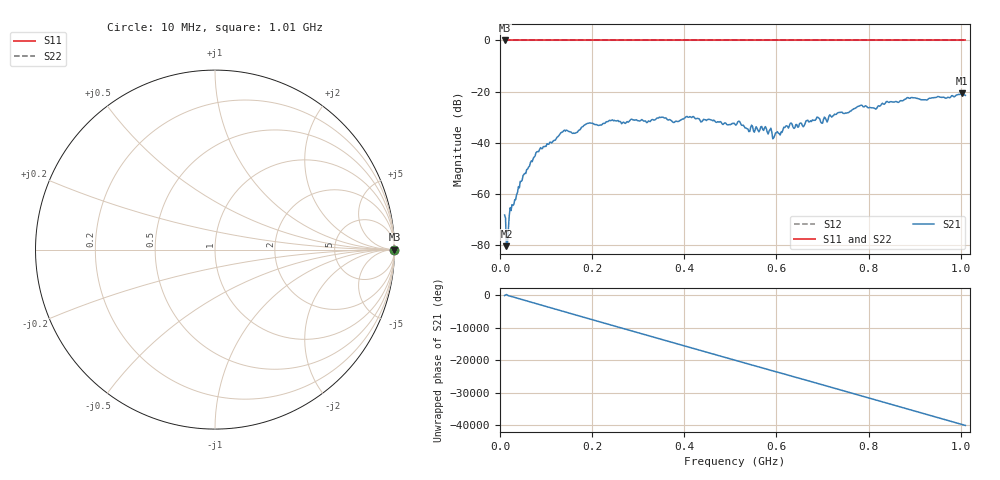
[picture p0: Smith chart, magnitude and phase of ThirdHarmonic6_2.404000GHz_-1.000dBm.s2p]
! 8/17/2025 3:59:19 AM
! C:\ANRITSUVNA\TEMP\TEMP.S2P
! CHANNEL.1
! TR.MEASUREMENT
! RAW.DATA
! RF.CORRECTION.OFF
! AVERAGING.OFF
! IF.BANDWIDTH: 5KHZ
! SWEEPTYPE:  FREQ.SWEEP(Linear)
! Reference Plane Port Info
! PORT:  PORT1  PORT2
! DISTANCE:  0  m  0  m
! TIME:  0  s  0  s
! PHASE.OFFSET:  0  deg.  0  deg.
! LOSS:  0  dB  0  dB
! REF.LOSS:  0  dB  0  dB
! REF.FREQ:  0  Hz  0  Hz
! Power Info
! POWER:  -20  dBm  -20  dBm
! EFF.POWER:  -20  dBm  -20  dBm
! SOURCE.ATTEN:  0  dB  0  dB
! TEST.ATTEN:  0  dB  0  dB
# GHZ S RI R 50.0
! FREQ.GHZ  S11RE  S11IM  S21RE  S21IM  S12RE  S12IM  S22RE  S22IM
!; PortSelection: Port_12
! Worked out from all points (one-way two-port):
!   501 points, 10 MHz to 1.01 GHz, reference 50 ohm
!   highest |S21| = -20.74 dB at 1.002 GHz (marker M1); lowest = -80.4 dB at 14 MHz (marker M2)
!   lowest |S11| = 0.0 dB at 10 MHz (marker M3)
!   |S11| at or under -10 dB: nowhere
!   |S22| runs from 0.0 to 0.0 dB; largest |S21 - S12| = 1.1
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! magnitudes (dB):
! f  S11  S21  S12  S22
! 10 MHz  0.0  -68.3  0.0  0.0
! 14 MHz  0.0  -80.4  0.0  0.0
! 18 MHz  0.0  -74.5  0.0  0.0
! 24 MHz  0.0  -66.5  0.0  0.0
! 48 MHz  0.0  -54.7  0.0  0.0
! 78 MHz  0.0  -43.9  0.0  0.0
! 136 MHz  0.0  -35.8  0.0  0.0
! 162 MHz  0.0  -36.3  0.0  0.0
! 178 MHz  0.0  -33.8  0.0  0.0
! 344 MHz  0.0  -30.3  0.0  0.0
! 378 MHz  0.0  -32.1  0.0  0.0
! 416 MHz  0.0  -30.2  0.0  0.0
! 510 MHz  0.0  -32.8  0.0  0.0
! 520 MHz  0.0  -31.7  0.0  0.0
! 538 MHz  0.0  -34.7  0.0  0.0
! 572 MHz  0.0  -35.2  0.0  0.0
! 596 MHz  0.0  -37.3  0.0  0.0
! 620 MHz  0.0  -33.5  0.0  0.0
! 678 MHz  0.0  -31.1  0.0  0.0
! 844 MHz  0.0  -24.3  0.0  0.0
! 1.002 GHz  0.0  -20.7  0.0  0.0
! 1.01 GHz  0.0  -21.5  0.0  0.0
